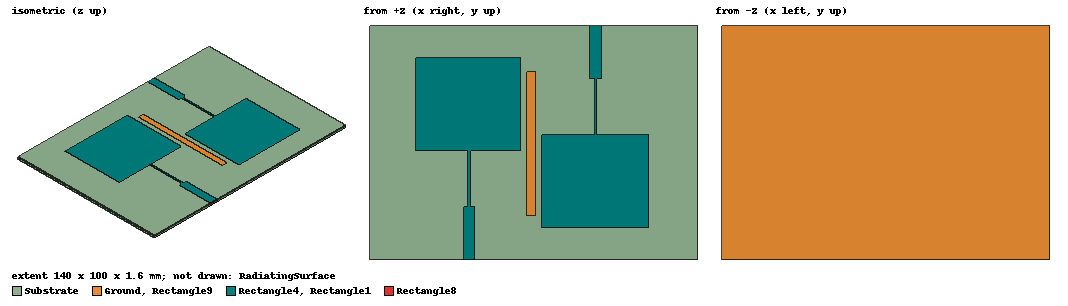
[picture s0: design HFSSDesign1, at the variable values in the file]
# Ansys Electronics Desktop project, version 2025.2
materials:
  vacuum: permittivity=1
  Rogers RT/duroid 5880 (tm): permittivity=2.2 dielectric_loss_tangent=0.0009
  air: permittivity=1.0006 permeability=1.0000004

design HFSSDesign1 (HFSS, HFSS Terminal Network, model units mm)
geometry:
  Ground = rectangle(corner=(0mm, 0mm, 0mm), x_size=140mm, y_size=100mm)
  Substrate [Rogers RT/duroid 5880 (tm)] = box(corner=(0mm, 0mm, 0mm), size=(140mm, 100mm, 1.6mm))
  Rectangle1 = rectangle(corner=(32.514mm, 22.84mm, 1.6mm), x_size=4.972mm, y_size=-22.84mm)
  Rectangle2 = rectangle(corner=(34.45mm, 46.5175mm, 1.6mm), x_size=1.09mm, y_size=-23.6775mm)
  Rectangle3 = rectangle(corner=(12.06mm, (86.0375-39.52) mm, 1.6mm), x_size=44.8mm, y_size=39.7mm)
  Rectangle1.unite(Rectangle2, Rectangle3)
  Rectangle4 = rectangle(corner=((32.514+70) mm, 22.84mm, 1.6mm), x_size=4.972mm, y_size=-22.84mm)
  Rectangle5 = rectangle(corner=((34.45+70) mm, 46.5175mm, 1.6mm), x_size=1.09mm, y_size=-23.6775mm)
  Rectangle6 = rectangle(corner=((12.06+70) mm, (86.0375-39.52) mm, 1.6mm), x_size=45.6mm, y_size=39.7mm)
  Rectangle4.unite(Rectangle5, Rectangle6)
  RadiatingSurface [air] = region(absolute_offset: +X=41.666667mm, -X=41.666667mm, +Y=41.666667mm, -Y=41.666667mm, +Z=41.666667mm, -Z=5mm)
  Rectangle7 = rectangle(corner=(32.514mm, 0mm, 1.6mm), z_size=-1.6mm, x_size=4.972mm)
  Rectangle8 = rectangle(corner=(102.514mm, 100mm, 1.6mm), z_size=-1.6mm, x_size=4.972mm)
  [Rectangle1, Rectangle7].move(5mm, 0mm, 0mm)
  [Rectangle4, Rectangle8].move(-5mm, 0mm, 0mm)
  [Rectangle8, Rectangle4].move(-4mm, 0mm, 0mm)
  [Rectangle1, Rectangle7].move(4mm, 0mm, 0mm)
  Rectangle4.mirror(point=(95.869941mm, 62.747588mm, 1.6mm), normal=(0mm, 1mm, 0mm))
  Rectangle4.move(0mm, -22.84mm, 0mm)
  Rectangle4.move(0mm, -2.6551756mm, 0mm)
  Rectangle9 = rectangle(corner=(67.21mm, 80.5mm, 1.6mm), x_size=3.5mm, y_size=-61.5mm)
  [Rectangle7, Rectangle1].move(-1mm, 0mm, 0mm)
  [Rectangle8, Rectangle4].move(1mm, 0mm, 0mm)
  [Rectangle7, Rectangle1].move(-1mm, 0mm, 0mm)
  [Rectangle8, Rectangle4].move(1mm, 0mm, 0mm)
  [Rectangle8, Rectangle4].move(-1mm, 0mm, 0mm)
  [Rectangle1, Rectangle7].move(0.5mm, 0mm, 0mm)
  [Rectangle8, Rectangle4].move(-0.5mm, 0mm, 0mm)
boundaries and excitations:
  Open1: Radiation Objects=RadiatingSurface
  PerfE1: Perfect E Objects=[Ground, Rectangle1, Rectangle4]
  PerfE2: Perfect E Objects=Rectangle9
  1: Lumped Port Objects=Rectangle7 LumpedPortType=Modal Modes{Mode1{IntLine{(42.5, 0, 0) -> (42.5, 0, 1.6)} CharImp=Zpi RenormImp=50ohm}} Impedance=50ohm
  2: Lumped Port Objects=Rectangle8 LumpedPortType=Modal Modes{Mode1{IntLine{(96.5, 100, 0) -> (96.5, 100, 1.6)} CharImp=Zpi}} Impedance=50ohm
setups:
  Setup1: HfssDriven Frequency=2.4GHz MaxDeltaS=0.02 MaximumPasses=20 MinimumPasses=1 MinimumConvergedPasses=1 PercentRefinement=30 BasisOrder=1 PortAccuracy=2 DrivenSolverType="Direct Solver"
    sweep Sweep: 2GHz to 2.8GHz, 401 points; Type=Fast SaveFields
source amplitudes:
  1:1: 1W 0deg
  2:1: 0V 0deg
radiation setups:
  3D: Infinite Sphere Theta=-180deg..180deg step 2deg Phi=-180deg..180deg step 2deg
  Elevation: Infinite Sphere Theta=0deg..360deg step 1deg Phi=0deg..90deg step 90deg
  Azimuth: Infinite Sphere Theta=90deg..90deg step 0deg Phi=-180deg..180deg step 1deg
  Infinite Sphere1: Infinite Sphere Theta=-180deg..180deg step 2deg Phi=0deg..90deg step 90deg
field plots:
  Mag_Jsurf1, Mag_Jsurf2, Mag_Jsurf3: Jsurf over Rectangle1.face(at (41.96, 43.1088, 1.6)) Rectangle4.face(at (96.36, 56.8912, 1.6)) on Setup1 : LastAdaptive at Freq=2.4GHz Phase=0deg
  Mag_E1: E Field over Rectangle1.face(at (41.96, 43.1088, 1.6)) Rectangle4.face(at (96.36, 56.8912, 1.6)) Rectangle9.face on Setup1 : LastAdaptive at Freq=2.4GHz Phase=0deg
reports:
  S Parameter Plot1: dB(S(1,1)), dB(S(2,1)), dB(S(1,2)), dB(S(2,2)) vs Freq on Setup1 : Sweep; markers MX1 at x=2.4283333e+09
  Gain Plot1: dB(GainTotal) vs Freq on Setup1 : Sweep, 3D [Phi=0deg Theta=0deg]
  Gain Plot2: dB(GainTheta) vs Theta on Setup1 : LastAdaptive, Infinite Sphere1 [Phi=0deg,90deg Freq=2.4GHz]
  Gain Plot3: dB(GainPhi) vs Theta on Setup1 : LastAdaptive, Infinite Sphere1 [Phi=0deg,90deg Freq=2.4GHz]
